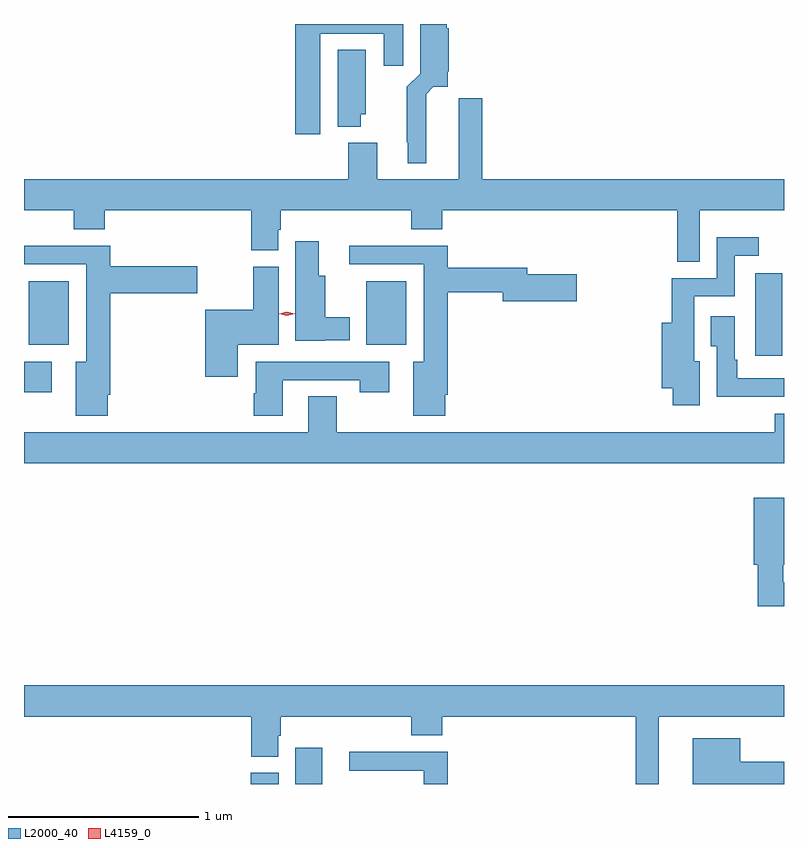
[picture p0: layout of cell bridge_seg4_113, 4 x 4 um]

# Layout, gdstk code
import gdstk
lib = gdstk.Library(unit=1e-6, precision=1e-09)
def R(c, l, rs):  # rectangles x0, y0, x1, y1
    for r in rs: c.add(gdstk.rectangle(r[:2], r[2:], *l))
def P(c, l, *ps):  # polygons
    for p in ps: c.add(gdstk.Polygon(p, *l))
L2000_40 = (2000, 40)
L4159_0 = (4159, 0)

bridge_seg4_113 = lib.new_cell('bridge_seg4_113')
R(bridge_seg4_113, L2000_40, [(624.89,753.841,625.036,753.9), (625.124,753.841,625.267,754.033), (623.696,755.904,623.842,756.063), (627.545,756.095,627.688,756.529), (623.72,756.152,623.932,756.487), (625.496,756.152,625.708,756.487)])
P(bridge_seg4_113, L2000_40, [(625.813,757.472),(625.851,757.511),(625.925,757.511),(625.925,757.586),(625.931,757.592),(625.931,757.818),(625.922,757.818),(625.922,757.841),(625.781,757.841),(625.781,757.58),(625.711,757.51),(625.711,757.219),(625.715,757.219),(625.715,757.109),(625.813,757.109)],
  [(625.255,757.791),(625.589,757.791),(625.589,757.62),(625.693,757.62),(625.693,757.841),(625.124,757.841),(625.124,757.26),(625.255,757.26)],
  [(625.468,757.365),(625.495,757.365),(625.495,757.706),(625.346,757.706),(625.346,757.301),(625.468,757.301)],
  [(627.253,756.86),(627.696,756.86),(627.696,757.024),(626.108,757.024),(626.108,757.45),(625.985,757.45),(625.985,757.024),(625.555,757.024),(625.555,757.216),(625.403,757.216),(625.403,757.024),(623.696,757.024),(623.696,756.86),(623.957,756.86),(623.957,756.761),(624.122,756.761),(624.122,756.86),(624.893,756.86),(624.893,756.649),(625.033,756.649),(625.033,756.759),(625.046,756.759),(625.046,756.86),(625.733,756.86),(625.733,756.761),(625.898,756.761),(625.898,756.86),(627.135,756.86),(627.135,756.589),(627.253,756.589)],
  [(627.253,756.067),(627.223,756.067),(627.223,756.408),(627.438,756.408),(627.438,756.621),(627.562,756.621),(627.562,756.718),(627.342,756.718),(627.342,756.504),(627.105,756.504),(627.105,756.268),(627.053,756.268),(627.053,755.924),(627.11,755.924),(627.11,755.835),(627.253,755.835)],
  [(625.278,756.176),(625.411,756.176),(625.411,756.298),(625.282,756.298),(625.282,756.517),(625.246,756.517),(625.246,756.697),(625.124,756.697),(625.124,756.173),(625.278,756.173)],
  [(625.912,755.89),(625.925,755.89),(625.925,756.43),(626.216,756.43),(626.216,756.383),(626.605,756.383),(626.605,756.525),(626.344,756.525),(626.344,756.559),(625.925,756.559),(625.925,756.674),(625.407,756.674),(625.407,756.576),(625.799,756.576),(625.799,756.064),(625.745,756.064),(625.745,755.778),(625.912,755.778)],
  [(624.136,755.89),(624.149,755.89),(624.149,756.425),(624.607,756.425),(624.607,756.567),(624.149,756.567),(624.149,756.674),(623.696,756.674),(623.696,756.576),(624.023,756.576),(624.023,756.064),(623.969,756.064),(623.969,755.778),(624.136,755.778)],
  [(624.82,756.152),(625.036,756.152),(625.036,756.564),(624.902,756.564),(624.902,756.337),(624.65,756.337),(624.65,755.985),(624.82,755.985)],
  [(627.563,755.88),(627.696,755.88),(627.696,755.976),(627.451,755.976),(627.451,756.073),(627.438,756.073),(627.438,756.304),(627.311,756.304),(627.311,756.145),(627.342,756.145),(627.342,755.879),(627.563,755.879)],
  [(625.057,755.967),(625.462,755.967),(625.462,755.904),(625.618,755.904),(625.618,756.063),(624.917,756.063),(624.917,755.897),(624.905,755.897),(624.905,755.778),(625.057,755.778)],
  [(627.696,755.791),(627.647,755.791),(627.647,755.692),(625.341,755.692),(625.341,755.882),(625.193,755.882),(625.193,755.692),(623.696,755.692),(623.696,755.528),(627.696,755.528)],
  [(627.696,754.904),(627.691,754.904),(627.691,754.994),(627.696,754.994),(627.696,755.347),(627.536,755.347),(627.536,754.994),(627.559,754.994),(627.559,754.776),(627.696,754.776)],
  [(627.037,754.196),(627.696,754.196),(627.696,754.36),(623.696,754.36),(623.696,754.196),(624.893,754.196),(624.893,753.985),(625.033,753.985),(625.033,754.095),(625.046,754.095),(625.046,754.196),(625.733,754.196),(625.733,754.097),(625.898,754.097),(625.898,754.196),(626.916,754.196),(626.916,753.841),(627.037,753.841)],
  [(627.696,753.958),(627.466,753.958),(627.466,754.081),(627.215,754.081),(627.215,753.841),(627.696,753.841)],
  [(625.925,754.01),(625.407,754.01),(625.407,753.912),(625.799,753.912),(625.799,753.841),(625.925,753.841)])
P(bridge_seg4_113, L4159_0, [(625.08,756.306),(625.04,756.316),(625.04,756.316),(625.04,756.316),(625.08,756.326),(625.12,756.316),(625.12,756.316),(625.12,756.316)])

lib.write_gds('bridge_seg4_113.gds')
